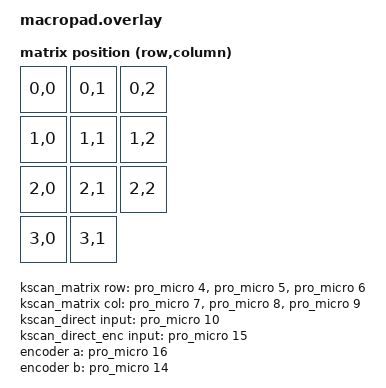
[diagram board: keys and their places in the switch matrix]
#include <dt-bindings/zmk/matrix_transform.h>

/ {
    chosen {
        zmk,kscan = &kscan;
        zmk,matrix-transform = &default_transform;
        zephyr,display = &oled;
        zephyr,console = &cdc_acm_uart;
    };

    default_transform: keymap_transform_0 {
        compatible = "zmk,matrix-transform";
        columns = <3>;
        rows = <4>;
        map = <
            RC(0,0) RC(0,1) RC(0,2)
            RC(1,0) RC(1,1) RC(1,2)
            RC(2,0) RC(2,1) RC(2,2)
            RC(3,0) RC(3,1)
        >;
    };

    kscan: kscan {
        compatible = "zmk,kscan-composite";
        rows = <4>;
        columns = <3>;

        // 1. Matice 3x3 na pinech 4-9
        matrix {
            kscan = <&kscan_matrix>;
        };

        // 2. Samostatný pin 10 posunutý na řádek 3 + enkodeŕ tlačítko
        direct {
            kscan = <&kscan_direct>;
            row-offset = <3>;
        };

        // 3. Tlačítko enkoderu
        encoder_btn {
            kscan = <&kscan_direct_enc>;
            row-offset = <3>;
            column-offset = <1>;
        };
    };

    kscan_matrix: kscan_matrix {
        compatible = "zmk,kscan-gpio-matrix";
        diode-direction = "col2row";
        debounce-press-ms = <5>;
        debounce-release-ms = <5>;

        col-gpios
            = <&pro_micro 7 GPIO_ACTIVE_HIGH>
            , <&pro_micro 8 GPIO_ACTIVE_HIGH>
            , <&pro_micro 9 GPIO_ACTIVE_HIGH>;

        row-gpios
            = <&pro_micro 4 (GPIO_ACTIVE_HIGH | GPIO_PULL_DOWN)>
            , <&pro_micro 5 (GPIO_ACTIVE_HIGH | GPIO_PULL_DOWN)>
            , <&pro_micro 6 (GPIO_ACTIVE_HIGH | GPIO_PULL_DOWN)>;
    };
    
    // S10
    kscan_direct: kscan_direct {
        compatible = "zmk,kscan-gpio-direct";
        debounce-press-ms = <5>;
        debounce-release-ms = <5>;
        input-gpios = 
            <&pro_micro 10 (GPIO_ACTIVE_LOW | GPIO_PULL_UP)>;
    };

    // SW Enkoder
    kscan_direct_enc: kscan_direct_enc {
        compatible = "zmk,kscan-gpio-direct";
        input-gpios = <&pro_micro 15 (GPIO_ACTIVE_LOW | GPIO_PULL_UP)>;
    };
};

&pro_micro_i2c {
    status = "okay";
    
    // OLED displej na I2C adrese 0x3c (nejčastější adresa pro SSD1306)
    oled: ssd1306@3c {
        compatible = "solomon,ssd1306fb";
        reg = <0x3c>;
        
        // Parametry pro typický 0.91" OLED
        width = <128>;
        height = <32>;
        segment-offset = <0>;
        page-offset = <0>;
        display-offset = <0>;
        multiplex-ratio = <31>; // 31 je pro 32px výšku
        segment-remap;
        com-invdir;
        com-sequential;
        inversion-on;
        prechargep = <0x22>;
    };
};

/ {
    // 1. Definice samotného hardwaru enkodéru
    encoder: encoder {
        compatible = "alps,ec11";
        
        // ZDE UPRAVTE PINY podle toho, kam jste zapojili vývody A a B z enkodéru.
        // V tomto příkladu jsou použity piny 21 a 20 na nice!nano.
        a-gpios = <&pro_micro 16 (GPIO_ACTIVE_HIGH | GPIO_PULL_UP)>;
        b-gpios = <&pro_micro 14 (GPIO_ACTIVE_HIGH | GPIO_PULL_UP)>;
        
        // Rozlišení enkodéru (obvykle 4x počet fyzických "cvaknutí" na otáčku).
        // Bourns PEC11L má typicky 15 nebo 20 pulzů. Pokud má 20 pulzů -> 80 kroků.
        // Pokud enkodér dělá "dvojkliky" na jedno fyzické cvaknutí, zkuste změnit na 40.
        steps = <80>;
        status = "okay";
    };

    // 2. Zaregistrování enkodéru do ZMK subsystému jako senzoru
    sensors: sensors {
        compatible = "zmk,keymap-sensors";
        sensors = <&encoder>;
        
        // Kolik akcí se má vyvolat na jednu celou otáčku (odpovídá fyzickým zarážkám)
        triggers-per-rotation = <20>;
    };
};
